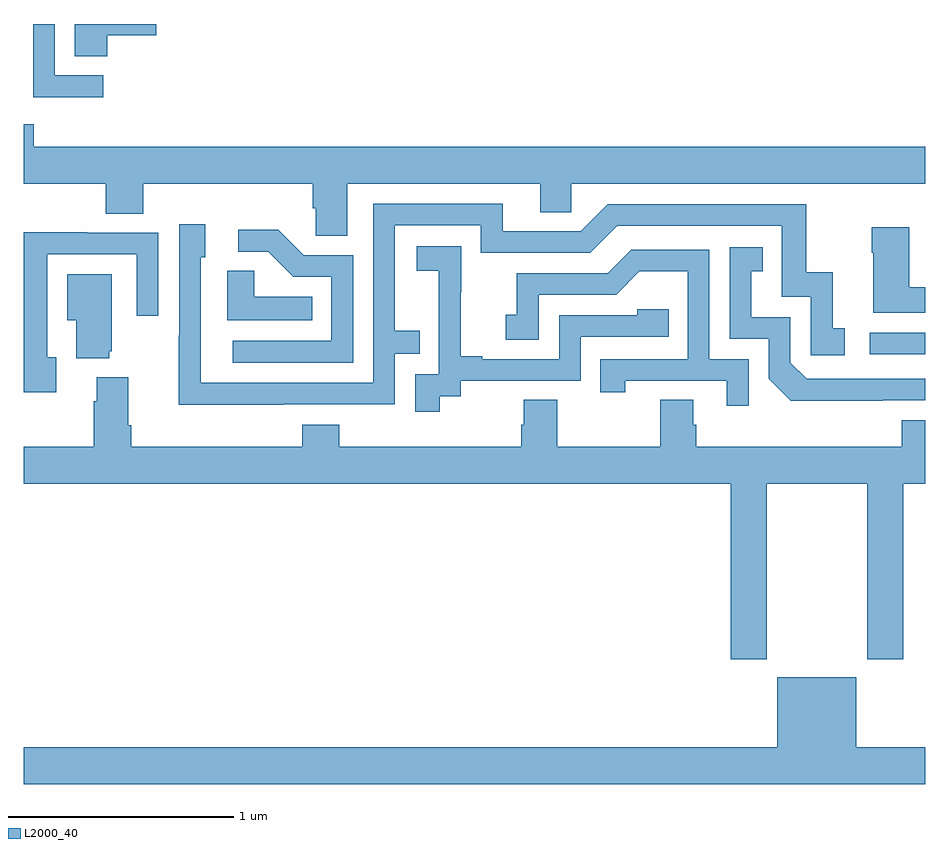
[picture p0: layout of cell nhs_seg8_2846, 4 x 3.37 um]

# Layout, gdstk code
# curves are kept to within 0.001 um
import gdstk
lib = gdstk.Library(unit=1e-6, precision=1e-09)
def R(c, l, rs):  # rectangles x0, y0, x1, y1
    for r in rs: c.add(gdstk.rectangle(r[:2], r[2:], *l))
def P(c, l, *ps):  # polygons
    for p in ps: c.add(gdstk.Polygon(p, *l))
L2000_40 = (2000, 40)

nhs_seg8_2846 = lib.new_cell('nhs_seg8_2846')
R(nhs_seg8_2846, L2000_40, [(294.753,1090.434,295,1090.53)])
P(nhs_seg8_2846, L2000_40, [(291.371,1091.849),(291.589,1091.849),(291.589,1091.9),(291.227,1091.9),(291.227,1091.758),(291.371,1091.758)],
  [(291.352,1091.673),(291.138,1091.673),(291.138,1091.9),(291.042,1091.9),(291.042,1091.575),(291.352,1091.575)],
  [(292.435,1091.192),(293.291,1091.192),(293.291,1091.065),(293.43,1091.065),(293.43,1091.192),(295,1091.192),(295,1091.356),(291.044,1091.356),(291.044,1091.455),(291,1091.455),(291,1091.192),(291.365,1091.192),(291.365,1091.059),(291.53,1091.059),(291.53,1091.192),(292.283,1091.192),(292.283,1091.083),(292.296,1091.083),(292.296,1090.96),(292.435,1090.96)],
  [(292.151,1090.212),(292.647,1090.212),(292.647,1090.437),(292.757,1090.437),(292.757,1090.538),(292.647,1090.538),(292.647,1091.007),(293.028,1091.007),(293.028,1090.884),(293.514,1090.884),(293.634,1091.004),(294.363,1091.004),(294.363,1090.689),(294.492,1090.689),(294.492,1090.431),(294.643,1090.431),(294.643,1090.551),(294.59,1090.551),(294.59,1090.798),(294.472,1090.798),(294.472,1091.1),(293.592,1091.1),(293.472,1090.98),(293.125,1090.98),(293.125,1091.103),(292.551,1091.103),(292.551,1090.308),(291.786,1090.308),(291.786,1090.866),(291.805,1090.866),(291.805,1091.011),(291.69,1091.011),(291.69,1090.517),(291.688,1090.517),(291.688,1090.211)],
  [(295,1090.733),(294.928,1090.733),(294.928,1090.999),(294.763,1090.999),(294.763,1090.886),(294.77,1090.886),(294.77,1090.619),(295,1090.619)],
  [(292.461,1090.875),(292.242,1090.875),(292.129,1090.988),(291.951,1090.988),(291.951,1090.89),(292.085,1090.89),(292.196,1090.779),(292.365,1090.779),(292.365,1090.494),(291.927,1090.494),(291.927,1090.398),(292.461,1090.398)],
  [(291.145,1090.422),(291.105,1090.422),(291.105,1090.878),(291.501,1090.878),(291.501,1090.605),(291.597,1090.605),(291.597,1090.974),(291.281,1090.974),(291.281,1090.976),(291,1090.976),(291,1090.266),(291.145,1090.266)],
  [(292.846,1090.249),(292.938,1090.249),(292.938,1090.317),(293.472,1090.317),(293.472,1090.512),(293.861,1090.512),(293.861,1090.635),(293.721,1090.635),(293.721,1090.608),(293.376,1090.608),(293.376,1090.413),(293.035,1090.413),(293.035,1090.426),(292.94,1090.426),(292.94,1090.709),(292.941,1090.709),(292.941,1090.915),(292.743,1090.915),(292.743,1090.805),(292.841,1090.805),(292.841,1090.577),(292.842,1090.577),(292.842,1090.347),(292.737,1090.347),(292.737,1090.179),(292.846,1090.179)],
  [(294.812,1090.23),(295,1090.23),(295,1090.326),(294.474,1090.326),(294.402,1090.398),(294.402,1090.599),(294.229,1090.599),(294.229,1090.803),(294.278,1090.803),(294.278,1090.909),(294.132,1090.909),(294.132,1090.503),(294.306,1090.503),(294.306,1090.326),(294.404,1090.229)],
  [(294.216,1090.413),(294.042,1090.413),(294.042,1090.899),(293.696,1090.899),(293.591,1090.794),(293.188,1090.794),(293.188,1090.609),(293.139,1090.609),(293.139,1090.5),(293.286,1090.5),(293.286,1090.698),(293.628,1090.698),(293.732,1090.802),(293.946,1090.802),(293.946,1090.413),(293.557,1090.413),(293.557,1090.266),(293.668,1090.266),(293.668,1090.317),(294.119,1090.317),(294.119,1090.206),(294.216,1090.206)],
  [(292.28,1090.69),(292.023,1090.69),(292.023,1090.805),(291.902,1090.805),(291.902,1090.586),(292.28,1090.586)],
  [(291.38,1090.449),(291.391,1090.449),(291.391,1090.789),(291.194,1090.789),(291.194,1090.586),(291.233,1090.586),(291.233,1090.418),(291.38,1090.418)],
  [(294.297,1089.86),(294.742,1089.86),(294.742,1089.081),(294.902,1089.081),(294.902,1089.86),(295,1089.86),(295,1090.141),(294.896,1090.141),(294.896,1090.024),(293.984,1090.024),(293.984,1090.122),(293.971,1090.122),(293.971,1090.232),(293.824,1090.232),(293.824,1090.024),(293.367,1090.024),(293.367,1090.232),(293.219,1090.232),(293.219,1090.122),(293.207,1090.122),(293.207,1090.024),(292.4,1090.024),(292.4,1090.123),(292.235,1090.123),(292.235,1090.024),(291.476,1090.024),(291.476,1090.12),(291.463,1090.12),(291.463,1090.333),(291.323,1090.333),(291.323,1090.226),(291.311,1090.226),(291.311,1090.024),(291,1090.024),(291,1089.86),(294.137,1089.86),(294.137,1089.081),(294.297,1089.081)],
  [(295,1088.692),(294.694,1088.692),(294.694,1089.001),(294.344,1089.001),(294.344,1088.692),(291,1088.692),(291,1088.528),(295,1088.528)])

lib.write_gds('nhs_seg8_2846.gds')
